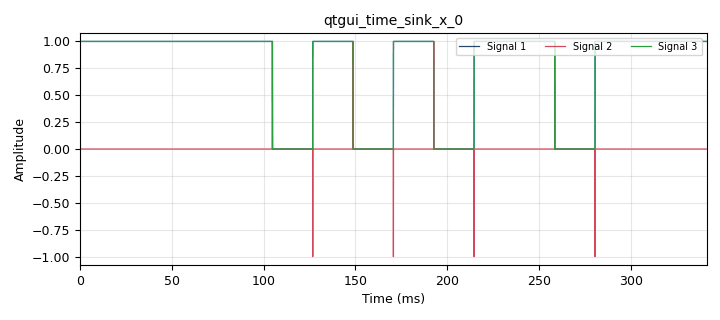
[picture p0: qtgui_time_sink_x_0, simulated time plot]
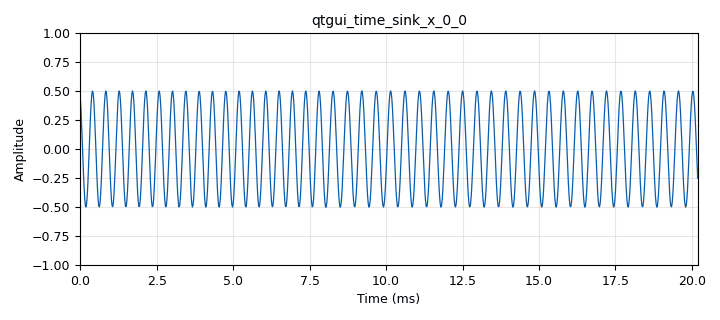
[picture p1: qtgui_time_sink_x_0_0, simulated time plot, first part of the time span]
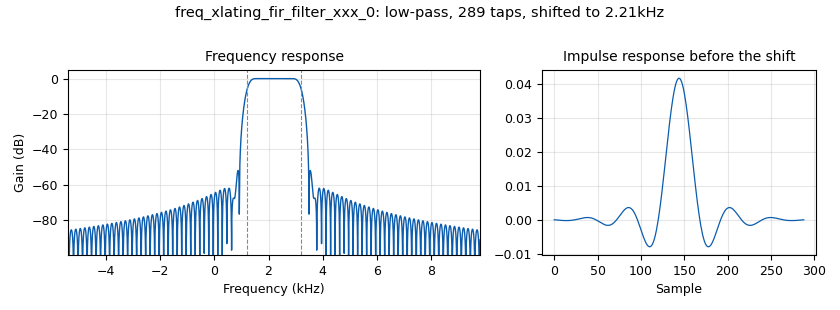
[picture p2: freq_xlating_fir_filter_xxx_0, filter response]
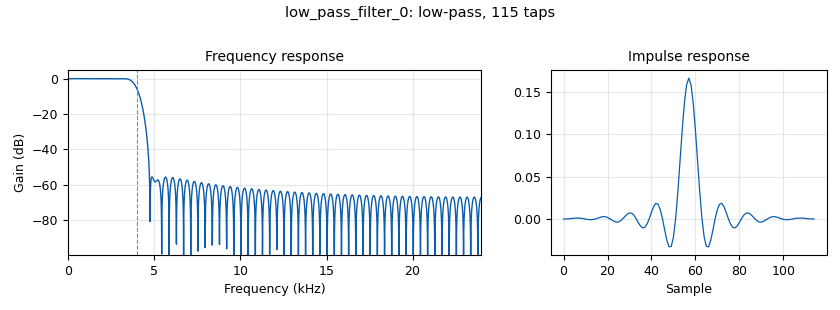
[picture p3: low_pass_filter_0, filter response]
options:
  parameters:
    generate_options: qt_gui
    id: fsksim
    output_language: python
    title: FSK Simulation
  states: {}

blocks:
- name: baud
  id: variable
  parameters:
    value: 1/0.022
  states: {}
- name: center
  id: variable
  parameters:
    value: (mark+space)/2
  states: {}
- name: delay
  id: variable_qtgui_range
  parameters:
    label: Delay
    orient: Qt.Horizontal
    start: '0'
    step: '1'
    stop: '250'
    value: '200'
  states: {}
- name: fsk_deviation
  id: variable
  parameters:
    value: '170'
  states: {}
- name: inp_amp
  id: variable
  parameters:
    value: abs(mark-space)/vco_max
  states: {}
- name: mark
  id: variable
  parameters:
    value: '2295'
  states: {}
- name: repeat
  id: variable
  parameters:
    value: int(samp_rate/baud)
  states: {}
- name: samp_rate
  id: variable
  parameters:
    value: '48000'
  states: {}
- name: space
  id: variable
  parameters:
    value: mark-fsk_deviation
  states: {}
- name: sq_lvl
  id: variable_qtgui_range
  parameters:
    label: Squelch
    orient: Qt.Horizontal
    start: '-100'
    step: '5'
    stop: '0'
    value: '-70'
  states: {}
- name: vco_max
  id: variable
  parameters:
    value: '2500'
  states: {}
- name: vco_offset
  id: variable
  parameters:
    value: min(space,mark)/vco_max
  states: {}
- name: analog_quadrature_demod_cf_0
  id: analog_quadrature_demod_cf
  parameters:
    gain: samp_rate/(2*math.pi*fsk_deviation/3000)
  states: {}
- name: analog_random_source_x_0
  id: analog_random_source_x
  parameters:
    max: '256'
    min: '0'
    num_samps: '1024'
    repeat: 'True'
    type: byte
  states: {}
- name: analog_simple_squelch_cc_0
  id: analog_simple_squelch_cc
  parameters:
    alpha: '1'
    threshold: sq_lvl
  states: {}
- name: blocks_add_const_vxx_0
  id: blocks_add_const_vxx
  parameters:
    const: vco_offset
    type: float
  states: {}
- name: blocks_delay_0
  id: blocks_delay
  parameters:
    delay: delay
    type: float
  states: {}
- name: blocks_multiply_const_vxx_0
  id: blocks_multiply_const_vxx
  parameters:
    const: inp_amp
    type: float
  states: {}
- name: blocks_repeat_0
  id: blocks_repeat
  parameters:
    interp: repeat
    type: byte
  states: {}
- name: blocks_sub_xx_0
  id: blocks_sub_xx
  parameters:
    type: float
  states: {}
- name: blocks_throttle_0
  id: blocks_throttle
  parameters:
    samples_per_second: samp_rate
    type: byte
  states: {}
- name: blocks_uchar_to_float_0
  id: blocks_uchar_to_float
  parameters: {}
  states: {}
- name: blocks_uchar_to_float_0_0
  id: blocks_uchar_to_float
  parameters: {}
  states: {}
- name: blocks_unpack_k_bits_bb_0
  id: blocks_unpack_k_bits_bb
  parameters:
    k: '8'
  states: {}
- name: blocks_vco_f_0
  id: blocks_vco_f
  parameters:
    amplitude: '0.500'
    samp_rate: samp_rate
    sensitivity: (2*math.pi*vco_max)/1
  states: {}
- name: digital_binary_slicer_fb_0
  id: digital_binary_slicer_fb
  parameters: {}
  states: {}
- name: freq_xlating_fir_filter_xxx_0
  id: freq_xlating_fir_filter_xxx
  parameters:
    center_freq: center
    decim: '1'
    samp_rate: samp_rate
    taps: firdes.low_pass(1.0,samp_rate,1000,400)
    type: fcf
  states: {}
- name: low_pass_filter_0
  id: low_pass_filter
  parameters:
    cutoff_freq: 4e3
    decim: '1'
    gain: '1'
    samp_rate: samp_rate
    type: fir_filter_fff
    width: 1e3
    win: firdes.WIN_HAMMING
  states: {}
- name: note_0
  id: note
  parameters:
    comment: |-
      https://wiki.gnuradio.org/index.php/Simulation_example:_FSK
      https://wiki.gnuradio.org/index.php/VCO

      This is a variation of Binary Frequency Shift Keying (BFSK).
      BFSK modulates the two binary states denoted as mark and space (terminology from RTTY).
      The way it does this is to use a VCO to output two frequencies based on the input.
      The vco_offset and inp_amp is setup in such a way that the VCO will output
      output(0) = space frequency
      output(1) = mark frequency

      Some literature inverts mark and space (mark=0, space=1).
    note: Outline
  states: {}
- name: qtgui_time_sink_x_0
  id: qtgui_time_sink_x
  parameters:
    nconnections: '3'
    size: '16384'
    srate: samp_rate
    type: float
  states: {}
- name: qtgui_time_sink_x_0_0
  id: qtgui_time_sink_x
  parameters:
    size: '4096'
    srate: samp_rate
    type: float
  states: {}
- name: virtual_sink_0
  id: virtual_sink
  parameters:
    stream_id: xmt_data
  states: {}
- name: virtual_sink_0_0
  id: virtual_sink
  parameters:
    stream_id: fsk_out
  states: {}
- name: virtual_source_0
  id: virtual_source
  parameters:
    stream_id: xmt_data
  states: {}
- name: virtual_source_0_0
  id: virtual_source
  parameters:
    stream_id: xmt_data
  states: {}
- name: virtual_source_1
  id: virtual_source
  parameters:
    stream_id: fsk_out
  states: {}

connections:
- [analog_quadrature_demod_cf_0, '0', digital_binary_slicer_fb_0, '0']
- [analog_random_source_x_0, '0', blocks_unpack_k_bits_bb_0, '0']
- [analog_simple_squelch_cc_0, '0', analog_quadrature_demod_cf_0, '0']
- [blocks_add_const_vxx_0, '0', blocks_vco_f_0, '0']
- [blocks_delay_0, '0', blocks_sub_xx_0, '1']
- [blocks_delay_0, '0', qtgui_time_sink_x_0, '2']
- [blocks_multiply_const_vxx_0, '0', blocks_add_const_vxx_0, '0']
- [blocks_repeat_0, '0', blocks_throttle_0, '0']
- [blocks_sub_xx_0, '0', qtgui_time_sink_x_0, '1']
- [blocks_throttle_0, '0', blocks_uchar_to_float_0, '0']
- [blocks_uchar_to_float_0, '0', virtual_sink_0, '0']
- [blocks_uchar_to_float_0_0, '0', blocks_sub_xx_0, '0']
- [blocks_uchar_to_float_0_0, '0', qtgui_time_sink_x_0, '0']
- [blocks_unpack_k_bits_bb_0, '0', blocks_repeat_0, '0']
- [blocks_vco_f_0, '0', low_pass_filter_0, '0']
- [digital_binary_slicer_fb_0, '0', blocks_uchar_to_float_0_0, '0']
- [freq_xlating_fir_filter_xxx_0, '0', analog_simple_squelch_cc_0, '0']
- [low_pass_filter_0, '0', virtual_sink_0_0, '0']
- [virtual_source_0, '0', blocks_multiply_const_vxx_0, '0']
- [virtual_source_0_0, '0', blocks_delay_0, '0']
- [virtual_source_1, '0', freq_xlating_fir_filter_xxx_0, '0']
- [virtual_source_1, '0', qtgui_time_sink_x_0_0, '0']

metadata:
  file_format: 1
